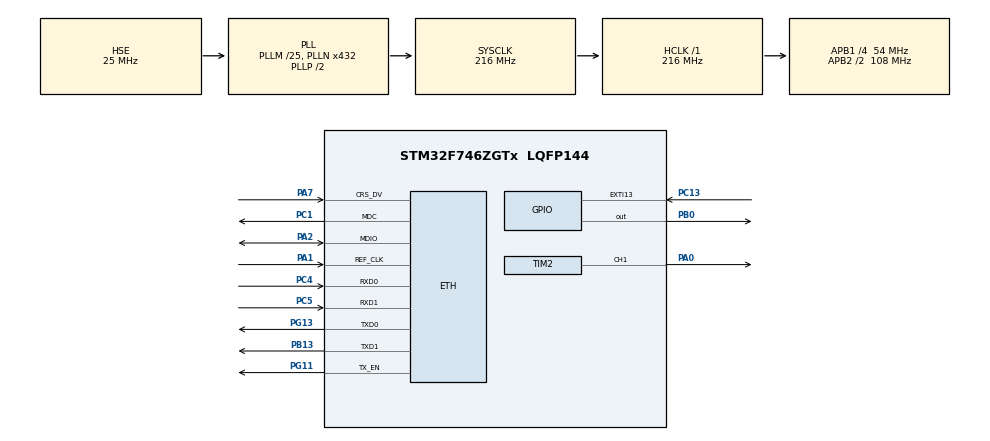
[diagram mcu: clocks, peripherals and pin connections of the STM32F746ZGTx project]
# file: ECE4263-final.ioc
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CORTEX_M7.AccessPermission-Cortex_Memory_Protection_Unit_Region0_Settings=MPU_REGION_FULL_ACCESS
CORTEX_M7.BaseAddress-Cortex_Memory_Protection_Unit_Region0_Settings=0x20010000
CORTEX_M7.CPU_DCache=Enabled
CORTEX_M7.CPU_ICache=Enabled
CORTEX_M7.DisableExec-Cortex_Memory_Protection_Unit_Region0_Settings=MPU_INSTRUCTION_ACCESS_DISABLE
CORTEX_M7.Enable-Cortex_Memory_Protection_Unit_Region0_Settings=MPU_REGION_ENABLE
CORTEX_M7.IsShareable-Cortex_Memory_Protection_Unit_Region0_Settings=MPU_ACCESS_SHAREABLE
CORTEX_M7.MPU_Control=MPU_PRIVILEGED_DEFAULT
CORTEX_M7.PREFETCH_ENABLE=1
CORTEX_M7.Size-Cortex_Memory_Protection_Unit_Region0_Settings=MPU_REGION_SIZE_16KB
CORTEX_M7.TypeExtField-Cortex_Memory_Protection_Unit_Region0_Settings=MPU_TEX_LEVEL1
ETH.MediaInterface=ETH_MEDIA_INTERFACE_RMII
ETH.PhyAddress=0
LWIP.GATEWAY_ADDRESS=192.168.000.001
LWIP.IP_ADDRESS=172.031.001.235
LWIP.LWIP_DHCP=0
LWIP.MEM_SIZE=10*1024
LWIP.NETMASK_ADDRESS=255.255.255.000
LWIP.Version=v2.1.2_Cube
Mcu.Family=STM32F7
Mcu.Name=STM32F746ZGTx
Mcu.Package=LQFP144
NVIC.EXTI15_10_IRQn=true\:0\:0\:false\:false\:true\:true\:true
NVIC.PriorityGroup=NVIC_PRIORITYGROUP_4
PA0/WKUP.Signal=S_TIM2_CH1_ETR
PA1.Mode=RMII
PA1.Signal=ETH_REF_CLK
PA2.Mode=RMII
PA2.Signal=ETH_MDIO
PA7.Mode=RMII
PA7.Signal=ETH_CRS_DV
PB0.Signal=GPIO_Output
PB13.Mode=RMII
PB13.Signal=ETH_TXD1
PC1.Mode=RMII
PC1.Signal=ETH_MDC
PC13.GPIO_ModeDefaultEXTI=GPIO_MODE_IT_FALLING
PC13.GPIO_PuPd=GPIO_NOPULL
PC13.Signal=GPXTI13
PC4.Mode=RMII
PC4.Signal=ETH_RXD0
PC5.Mode=RMII
PC5.Signal=ETH_RXD1
PG11.Mode=RMII
PG11.Signal=ETH_TX_EN
PG13.Mode=RMII
PG13.Signal=ETH_TXD0
PH0/OSC_IN.Mode=HSE-External-Oscillator
PH0/OSC_IN.Signal=RCC_OSC_IN
PH1/OSC_OUT.Mode=HSE-External-Oscillator
PH1/OSC_OUT.Signal=RCC_OSC_OUT
ProjectManager.HeapSize=0x200
ProjectManager.StackSize=0x400
ProjectManager.TargetToolchain=STM32CubeIDE
RCC.AHBFreq_Value=216000000
RCC.APB1CLKDivider=RCC_HCLK_DIV4
RCC.APB1Freq_Value=54000000
RCC.APB1TimFreq_Value=108000000
RCC.APB2CLKDivider=RCC_HCLK_DIV2
RCC.APB2Freq_Value=108000000
RCC.APB2TimFreq_Value=216000000
RCC.CortexFreq_Value=216000000
RCC.HCLKFreq_Value=216000000
RCC.HSE_VALUE=25000000
RCC.HSI_VALUE=16000000
RCC.LSE_VALUE=32768
RCC.PLLM=25
RCC.PLLN=432
RCC.PLLSourceVirtual=RCC_PLLSOURCE_HSE
RCC.PWR_Regulator_Voltage_Scale=PWR_REGULATOR_VOLTAGE_SCALE1
RCC.SYSCLKFreq_VALUE=216000000
RCC.SYSCLKSource=RCC_SYSCLKSOURCE_PLLCLK
RCC.USBFreq_Value=216000000
RCC.VCOOutputFreq_Value=432000000
SH.S_TIM2_CH1_ETR.0=TIM2_CH1,PWM Generation1 CH1
TIM2.Channel-PWM\ Generation1\ CH1=TIM_CHANNEL_1
TIM2.Period=2160
TIM2.Prescaler=1000
VP_LWIP_VS_Enabled.Mode=Enabled
VP_TIM2_VS_ClockSourceINT.Mode=Internal
board=custom

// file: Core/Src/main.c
/* USER CODE BEGIN Header */
/**
  ******************************************************************************
  * @file           : main.c
  * @brief          : Main program body
  ******************************************************************************
  * @attention
  *
  * <h2><center>&copy; Copyright (c) 2021 STMicroelectronics.
  * All rights reserved.</center></h2>
  *
  * This software component is licensed by ST under BSD 3-Clause license,
  * the "License"; You may not use this file except in compliance with the
  * License. You may obtain a copy of the License at:
  *                        opensource.org/licenses/BSD-3-Clause
  *
  ******************************************************************************
  */
/* USER CODE END Header */
#include "main.h"
#include "lwip.h"

/* USER CODE BEGIN Includes */

#include "udpClientRAW.h"

/* USER CODE END Includes */

TIM_HandleTypeDef htim2;

void SystemClock_Config(void);
static void MPU_Config(void);
static void MX_GPIO_Init(void);
static void MX_TIM2_Init(void);
/* USER CODE BEGIN PFP */

void CMD_SET_SERVO_POSITION(int);

/* USER CODE END PFP */

/* USER CODE BEGIN 0 */

extern struct netif gnetif;

/* USER CODE END 0 */

int main(void)
{

  /* MPU Configuration--------------------------------------------------------*/
  MPU_Config();

  /* Enable I-Cache---------------------------------------------------------*/
  SCB_EnableICache();

  /* Enable D-Cache---------------------------------------------------------*/
  SCB_EnableDCache();

  /* MCU Configuration--------------------------------------------------------*/

  /* Reset of all peripherals, Initializes the Flash interface and the Systick. */
  HAL_Init();

  /* Configure the system clock */
  SystemClock_Config();

  /* Initialize all configured peripherals */
  MX_GPIO_Init();
  MX_LWIP_Init();
  MX_TIM2_Init();
  /* USER CODE BEGIN 2 */

  // Connect the client to the server
  server_connected = false;
  udpClient_connect();

  // Start interrupt timer
//  HAL_TIM_Base_Start_IT(&htim14);

  // start PWM signal for the servo
  HAL_TIM_PWM_Start(&htim2, TIM_CHANNEL_1);

  /* USER CODE END 2 */

  /* Infinite loop */
  while (1)
  {

    /* USER CODE BEGIN 3 */

    // listen for network events
	  ethernetif_input(&gnetif);
	  sys_check_timeouts();

  }
  /* USER CODE END 3 */
}

void SystemClock_Config(void)
{
  RCC_OscInitTypeDef RCC_OscInitStruct = {0};
  RCC_ClkInitTypeDef RCC_ClkInitStruct = {0};

  /** Configure the main internal regulator output voltage
  */
  __HAL_RCC_PWR_CLK_ENABLE();
  __HAL_PWR_VOLTAGESCALING_CONFIG(PWR_REGULATOR_VOLTAGE_SCALE1);
  /** Initializes the RCC Oscillators according to the specified parameters
  * in the RCC_OscInitTypeDef structure.
  */
  RCC_OscInitStruct.OscillatorType = RCC_OSCILLATORTYPE_HSE;
  RCC_OscInitStruct.HSEState = RCC_HSE_ON;
  RCC_OscInitStruct.PLL.PLLState = RCC_PLL_ON;
  RCC_OscInitStruct.PLL.PLLSource = RCC_PLLSOURCE_HSE;
  RCC_OscInitStruct.PLL.PLLM = 25;
  RCC_OscInitStruct.PLL.PLLN = 432;
  RCC_OscInitStruct.PLL.PLLP = RCC_PLLP_DIV2;
  RCC_OscInitStruct.PLL.PLLQ = 2;
  if (HAL_RCC_OscConfig(&RCC_OscInitStruct) != HAL_OK)
  {
    Error_Handler();
  }
  /** Activate the Over-Drive mode
  */
  if (HAL_PWREx_EnableOverDrive() != HAL_OK)
  {
    Error_Handler();
  }
  /** Initializes the CPU, AHB and APB buses clocks
  */
  RCC_ClkInitStruct.ClockType = RCC_CLOCKTYPE_HCLK|RCC_CLOCKTYPE_SYSCLK
                              |RCC_CLOCKTYPE_PCLK1|RCC_CLOCKTYPE_PCLK2;
  RCC_ClkInitStruct.SYSCLKSource = RCC_SYSCLKSOURCE_PLLCLK;
  RCC_ClkInitStruct.AHBCLKDivider = RCC_SYSCLK_DIV1;
  RCC_ClkInitStruct.APB1CLKDivider = RCC_HCLK_DIV4;
  RCC_ClkInitStruct.APB2CLKDivider = RCC_HCLK_DIV2;

  if (HAL_RCC_ClockConfig(&RCC_ClkInitStruct, FLASH_LATENCY_7) != HAL_OK)
  {
    Error_Handler();
  }
}

static void MX_TIM2_Init(void)
{

  TIM_ClockConfigTypeDef sClockSourceConfig = {0};
  TIM_MasterConfigTypeDef sMasterConfig = {0};
  TIM_OC_InitTypeDef sConfigOC = {0};

  htim2.Instance = TIM2;
  htim2.Init.Prescaler = 1000;
  htim2.Init.CounterMode = TIM_COUNTERMODE_UP;
  htim2.Init.Period = 2160;
  htim2.Init.ClockDivision = TIM_CLOCKDIVISION_DIV1;
  htim2.Init.AutoReloadPreload = TIM_AUTORELOAD_PRELOAD_DISABLE;
  if (HAL_TIM_Base_Init(&htim2) != HAL_OK)
  {
    Error_Handler();
  }
  sClockSourceConfig.ClockSource = TIM_CLOCKSOURCE_INTERNAL;
  if (HAL_TIM_ConfigClockSource(&htim2, &sClockSourceConfig) != HAL_OK)
  {
    Error_Handler();
  }
  if (HAL_TIM_PWM_Init(&htim2) != HAL_OK)
  {
    Error_Handler();
  }
  sMasterConfig.MasterOutputTrigger = TIM_TRGO_RESET;
  sMasterConfig.MasterSlaveMode = TIM_MASTERSLAVEMODE_DISABLE;
  if (HAL_TIMEx_MasterConfigSynchronization(&htim2, &sMasterConfig) != HAL_OK)
  {
    Error_Handler();
  }
  sConfigOC.OCMode = TIM_OCMODE_PWM1;
  sConfigOC.Pulse = 0;
  sConfigOC.OCPolarity = TIM_OCPOLARITY_HIGH;
  sConfigOC.OCFastMode = TIM_OCFAST_DISABLE;
  if (HAL_TIM_PWM_ConfigChannel(&htim2, &sConfigOC, TIM_CHANNEL_1) != HAL_OK)
  {
    Error_Handler();
  }
  HAL_TIM_MspPostInit(&htim2);

}

static void MX_GPIO_Init(void)
{
  GPIO_InitTypeDef GPIO_InitStruct = {0};

  /* GPIO Ports Clock Enable */
  __HAL_RCC_GPIOC_CLK_ENABLE();
  __HAL_RCC_GPIOH_CLK_ENABLE();
  __HAL_RCC_GPIOA_CLK_ENABLE();
  __HAL_RCC_GPIOB_CLK_ENABLE();
  __HAL_RCC_GPIOG_CLK_ENABLE();

  /*Configure GPIO pin Output Level */
  HAL_GPIO_WritePin(GPIOB, GPIO_PIN_0, GPIO_PIN_RESET);

  /*Configure GPIO pin : PC13 */
  GPIO_InitStruct.Pin = GPIO_PIN_13;
  GPIO_InitStruct.Mode = GPIO_MODE_IT_FALLING;
  GPIO_InitStruct.Pull = GPIO_NOPULL;
  HAL_GPIO_Init(GPIOC, &GPIO_InitStruct);

  /*Configure GPIO pin : PB0 */
  GPIO_InitStruct.Pin = GPIO_PIN_0;
  GPIO_InitStruct.Mode = GPIO_MODE_OUTPUT_PP;
  GPIO_InitStruct.Pull = GPIO_NOPULL;
  GPIO_InitStruct.Speed = GPIO_SPEED_FREQ_LOW;
  HAL_GPIO_Init(GPIOB, &GPIO_InitStruct);

  /* EXTI interrupt init*/
  HAL_NVIC_SetPriority(EXTI15_10_IRQn, 0, 0);
  HAL_NVIC_EnableIRQ(EXTI15_10_IRQn);

}

/* USER CODE BEGIN 4 */

// Argument: integer pulse width in microseconds (1000 to 2000)
void CMD_SET_SERVO_POSITION(int microseconds)
{
  // default pulse width is 1000 microseconds
  // sending it 25 gives a duty cycle of 1500 microseconds, meaning it doubles the value then multiplies it by ten
  // 25 * 10 * 2 ---> 1000 + 500 = 1500 microseconds

  // time to party like it's 1999
  if(microseconds > 2000)
    microseconds = 2000;
  else if(microseconds < 0)
    microseconds = 0;

  microseconds -= 1000;
  microseconds = (int)microseconds / 20;
  htim2.Instance->CCR1 = microseconds;
}

/* USER CODE END 4 */

/* MPU Configuration */

void MPU_Config(void)
{
  MPU_Region_InitTypeDef MPU_InitStruct = {0};

  /* Disables the MPU */
  HAL_MPU_Disable();
  /** Initializes and configures the Region and the memory to be protected
  */
  MPU_InitStruct.Enable = MPU_REGION_ENABLE;
  MPU_InitStruct.Number = MPU_REGION_NUMBER0;
  MPU_InitStruct.BaseAddress = 0x20010000;
  MPU_InitStruct.Size = MPU_REGION_SIZE_16KB;
  MPU_InitStruct.SubRegionDisable = 0x0;
  MPU_InitStruct.TypeExtField = MPU_TEX_LEVEL1;
  MPU_InitStruct.AccessPermission = MPU_REGION_FULL_ACCESS;
  MPU_InitStruct.DisableExec = MPU_INSTRUCTION_ACCESS_DISABLE;
  MPU_InitStruct.IsShareable = MPU_ACCESS_SHAREABLE;
  MPU_InitStruct.IsCacheable = MPU_ACCESS_NOT_CACHEABLE;
  MPU_InitStruct.IsBufferable = MPU_ACCESS_NOT_BUFFERABLE;

  HAL_MPU_ConfigRegion(&MPU_InitStruct);
  /* Enables the MPU */
  HAL_MPU_Enable(MPU_PRIVILEGED_DEFAULT);

}

void Error_Handler(void)
{
  __disable_irq();
  while (1)
  {
  }
}

/************************ (C) COPYRIGHT STMicroelectronics *****END OF FILE****/
